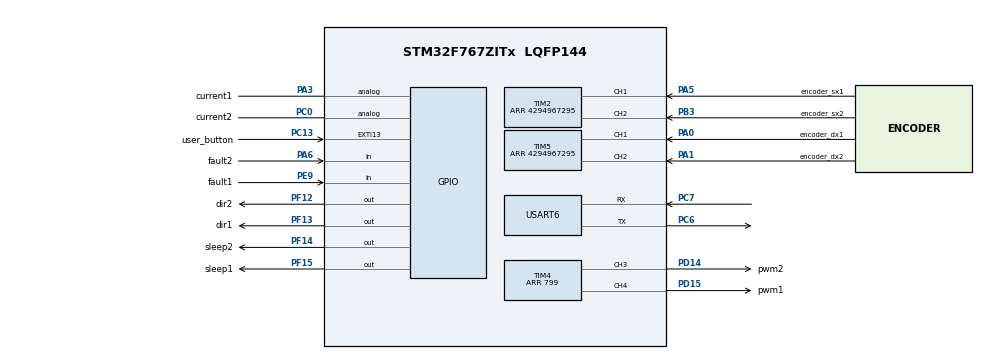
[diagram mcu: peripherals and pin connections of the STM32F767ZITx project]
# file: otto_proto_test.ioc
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Mcu.Family=STM32F7
Mcu.Name=STM32F767ZITx
Mcu.Package=LQFP144
NVIC.EXTI15_10_IRQn=true\:0\:0\:false\:false\:true\:true\:true
NVIC.PriorityGroup=NVIC_PRIORITYGROUP_2
NVIC.TIM3_IRQn=true\:2\:1\:true\:true\:true\:1\:true\:true
NVIC.TIM6_DAC_IRQn=true\:2\:2\:true\:true\:true\:2\:true\:true
NVIC.USART6_IRQn=true\:1\:0\:true\:true\:true\:3\:true\:true
PA0/WKUP.GPIO_Label=encoder_dx1
PA0/WKUP.Signal=S_TIM5_CH1
PA1.GPIO_Label=encoder_dx2
PA1.Signal=S_TIM5_CH2
PA13.Mode=Serial_Wire
PA13.Signal=SYS_JTMS-SWDIO
PA14.Mode=Serial_Wire
PA14.Signal=SYS_JTCK-SWCLK
PA3.GPIO_Label=current1
PA3.Signal=GPIO_Analog
PA5.GPIO_Label=encoder_sx1
PA5.Signal=S_TIM2_CH1_ETR
PA6.GPIO_Label=fault2
PA6.Signal=GPIO_Input
PB3.GPIO_Label=encoder_sx2
PB3.Signal=S_TIM2_CH2
PC0.GPIO_Label=current2
PC0.Signal=GPIO_Analog
PC13.GPIO_Label=user_button
PC13.Signal=GPXTI13
PC6.Mode=Asynchronous
PC6.Signal=USART6_TX
PC7.Mode=Asynchronous
PC7.Signal=USART6_RX
PD14.GPIO_Label=pwm2
PD14.Signal=S_TIM4_CH3
PD15.GPIO_Label=pwm1
PD15.Signal=S_TIM4_CH4
PE9.GPIO_Label=fault1
PE9.Signal=GPIO_Input
PF12.GPIO_Label=dir2
PF12.Signal=GPIO_Output
PF13.GPIO_Label=dir1
PF13.Signal=GPIO_Output
PF14.GPIO_Label=sleep2
PF14.GPIO_ModeDefaultOutputPP=GPIO_MODE_OUTPUT_PP
PF14.GPIO_PuPd=GPIO_PULLUP
PF14.PinState=GPIO_PIN_SET
PF14.Signal=GPIO_Output
PF15.GPIO_Label=sleep1
PF15.GPIO_PuPd=GPIO_PULLUP
PF15.PinState=GPIO_PIN_SET
PF15.Signal=GPIO_Output
ProjectManager.HeapSize=0x200
ProjectManager.StackSize=0x400
ProjectManager.TargetToolchain=STM32CubeIDE
RCC.HSE_VALUE=25000000
RCC.HSI_VALUE=16000000
RCC.LSE_VALUE=32768
RCC.USBFreq_Value=96000000
RCC.VCOOutputFreq_Value=192000000
SH.S_TIM2_CH1_ETR.0=TIM2_CH1,Encoder_Interface
SH.S_TIM2_CH2.0=TIM2_CH2,Encoder_Interface
SH.S_TIM4_CH3.0=TIM4_CH3,PWM Generation3 CH3
SH.S_TIM4_CH4.0=TIM4_CH4,PWM Generation4 CH4
SH.S_TIM5_CH1.0=TIM5_CH1,Encoder_Interface
SH.S_TIM5_CH2.0=TIM5_CH2,Encoder_Interface
TIM2.EncoderMode=TIM_ENCODERMODE_TI12
TIM2.Period=4294967295
TIM3.Period=159
TIM3.Prescaler=999
TIM4.Channel-PWM\ Generation3\ CH3=TIM_CHANNEL_3
TIM4.Channel-PWM\ Generation4\ CH4=TIM_CHANNEL_4
TIM4.Period=799
TIM5.EncoderMode=TIM_ENCODERMODE_TI12
TIM5.Period=4294967295
TIM6.Period=799
TIM6.Prescaler=9999
USART6.Parity=PARITY_NONE
USART6.VirtualMode-Asynchronous=VM_ASYNC
USART6.WordLength=WORDLENGTH_8B
VP_TIM3_VS_ClockSourceINT.Mode=Internal
VP_TIM4_VS_ClockSourceINT.Mode=Internal
VP_TIM6_VS_ClockSourceINT.Mode=Enable_Timer
board=custom

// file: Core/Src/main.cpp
/* USER CODE BEGIN Header */
/**
 ******************************************************************************
 * @file           : main.c
 * @brief          : Main program body
 ******************************************************************************
 * @attention
 *
 * <h2><center>&copy; Copyright (c) 2019 STMicroelectronics.
 * All rights reserved.</center></h2>
 *
 * This software component is licensed by ST under BSD 3-Clause license,
 * the "License"; You may not use this file except in compliance with the
 * License. You may obtain a copy of the License at:
 *                        opensource.org/licenses/BSD-3-Clause
 *
 ******************************************************************************
 */
/* USER CODE END Header */

#include "main.h"

/* USER CODE BEGIN Includes */

#include "encoder.h"
#include "odometry.h"
#include "motor_controller.h"
#include "pid.h"
#include "communication_utils.h"
#include "constants.h"

#include <pb_encode.h>
#include <pb_decode.h>
#include "velocities.pb.h"
/* USER CODE END Includes */

TIM_HandleTypeDef htim2;
TIM_HandleTypeDef htim3;
TIM_HandleTypeDef htim4;
TIM_HandleTypeDef htim5;
TIM_HandleTypeDef htim6;

UART_HandleTypeDef huart6;

/* USER CODE BEGIN PV */

//Odometry
Encoder right_encoder = Encoder(&htim5, RIGHT_TICKS_PER_METER);
Encoder left_encoder = Encoder(&htim2, LEFT_TICKS_PER_METER);
Odometry odom = Odometry();
float left_velocity = 0;
float right_velocity = 0;

//PID
Pid left_pid(0, 0, 0);
Pid right_pid(0, 0, 0);
Pid cross_pid(0, 0, 0);
float left_setpoint;
float right_setpoint;
float cross_setpoint;
int left_dutycycle;
int right_dutycycle;

//MotorController
MotorController right_motor(sleep1_GPIO_Port,
sleep1_Pin,
                            dir1_GPIO_Port,
                            dir1_Pin,
                            &htim4,
                            TIM_CHANNEL_4);
MotorController left_motor(sleep2_GPIO_Port,
sleep2_Pin,
                           dir2_GPIO_Port,
                           dir2_Pin,
                           &htim4,
                           TIM_CHANNEL_3);

//Communication
uint8_t *tx_buffer;
uint8_t *rx_buffer;
velocity_msg input_msg;
ticks_msg output_msg;

//user button variables
int previous_millis = 0;
int current_millis = 0;
bool debounce = true;

//test stuff
float mode = 0;  //0 for setup, 1 go, 2 send data
int left_ticks = 0;
int right_ticks = 0;

//protobuffers
Velocities vel_output;
uint8_t buffer_tx[10];
pb_ostream_t stream_tx;

Velocities vel_input;
uint8_t buffer_rx[10];
pb_istream_t stream_rx;

/* USER CODE END PV */

void SystemClock_Config(void);
static void MX_GPIO_Init(void);
static void MX_TIM2_Init(void);
static void MX_TIM3_Init(void);
static void MX_TIM4_Init(void);
static void MX_TIM5_Init(void);
static void MX_USART6_UART_Init(void);
static void MX_TIM6_Init(void);
static void MX_NVIC_Init(void);

int main(void) {

  /* MCU Configuration--------------------------------------------------------*/

  /* Reset of all peripherals, Initializes the Flash interface and the Systick. */
  HAL_Init();

  /* Configure the system clock */
  SystemClock_Config();

  /* Initialize all configured peripherals */
  MX_GPIO_Init();
  MX_TIM2_Init();
  MX_TIM3_Init();
  MX_TIM4_Init();
  MX_TIM5_Init();
  MX_USART6_UART_Init();
  MX_TIM6_Init();

  /* Initialize interrupts */
  MX_NVIC_Init();
  /* USER CODE BEGIN 2 */

  left_encoder.Setup();
  right_encoder.Setup();

  left_motor.setup();
  right_motor.setup();
  left_motor.coast();
  right_motor.coast();

  left_pid.config(180, 200, 0);
  right_pid.config(185, 195, 0);
  cross_pid.config(50, 20, 0);

  tx_buffer = (uint8_t*) &output_msg;
  rx_buffer = (uint8_t*) &input_msg;

  vel_output.angular_vel = 1;
  vel_output.linear_vel = 2;
  stream_tx = pb_ostream_from_buffer(buffer_tx, sizeof(buffer_tx));

  //Enables UART RX interrupt
  HAL_UART_Receive_IT(&huart6, buffer_rx, 10);
  HAL_TIM_Base_Start_IT(&htim6);
  /* USER CODE END 2 */

  /* Infinite loop */
  while (1) {

  }
}

void SystemClock_Config(void) {
  RCC_OscInitTypeDef RCC_OscInitStruct = { 0 };
  RCC_ClkInitTypeDef RCC_ClkInitStruct = { 0 };
  RCC_PeriphCLKInitTypeDef PeriphClkInitStruct = { 0 };

  /** Configure the main internal regulator output voltage
   */
  __HAL_RCC_PWR_CLK_ENABLE();
  __HAL_PWR_VOLTAGESCALING_CONFIG(PWR_REGULATOR_VOLTAGE_SCALE3);
  /** Initializes the CPU, AHB and APB busses clocks
   */
  RCC_OscInitStruct.OscillatorType = RCC_OSCILLATORTYPE_HSI;
  RCC_OscInitStruct.HSIState = RCC_HSI_ON;
  RCC_OscInitStruct.HSICalibrationValue = RCC_HSICALIBRATION_DEFAULT;
  RCC_OscInitStruct.PLL.PLLState = RCC_PLL_NONE;
  if (HAL_RCC_OscConfig(&RCC_OscInitStruct) != HAL_OK) {
    Error_Handler();
  }
  /** Initializes the CPU, AHB and APB busses clocks
   */
  RCC_ClkInitStruct.ClockType = RCC_CLOCKTYPE_HCLK | RCC_CLOCKTYPE_SYSCLK
      | RCC_CLOCKTYPE_PCLK1 | RCC_CLOCKTYPE_PCLK2;
  RCC_ClkInitStruct.SYSCLKSource = RCC_SYSCLKSOURCE_HSI;
  RCC_ClkInitStruct.AHBCLKDivider = RCC_SYSCLK_DIV1;
  RCC_ClkInitStruct.APB1CLKDivider = RCC_HCLK_DIV1;
  RCC_ClkInitStruct.APB2CLKDivider = RCC_HCLK_DIV1;

  if (HAL_RCC_ClockConfig(&RCC_ClkInitStruct, FLASH_LATENCY_0) != HAL_OK) {
    Error_Handler();
  }
  PeriphClkInitStruct.PeriphClockSelection = RCC_PERIPHCLK_USART6;
  PeriphClkInitStruct.Usart6ClockSelection = RCC_USART6CLKSOURCE_PCLK2;
  if (HAL_RCCEx_PeriphCLKConfig(&PeriphClkInitStruct) != HAL_OK) {
    Error_Handler();
  }
}

/**
 * @brief NVIC Configuration.
 * @retval None
 */
static void MX_NVIC_Init(void) {
  /* TIM3_IRQn interrupt configuration */
  HAL_NVIC_SetPriority(TIM3_IRQn, 2, 1);
  HAL_NVIC_EnableIRQ(TIM3_IRQn);
  /* TIM6_DAC_IRQn interrupt configuration */
  HAL_NVIC_SetPriority(TIM6_DAC_IRQn, 2, 2);
  HAL_NVIC_EnableIRQ(TIM6_DAC_IRQn);
  /* USART6_IRQn interrupt configuration */
  HAL_NVIC_SetPriority(USART6_IRQn, 1, 0);
  HAL_NVIC_EnableIRQ(USART6_IRQn);
}

static void MX_TIM2_Init(void) {

  TIM_Encoder_InitTypeDef sConfig = { 0 };
  TIM_MasterConfigTypeDef sMasterConfig = { 0 };

  htim2.Instance = TIM2;
  htim2.Init.Prescaler = 0;
  htim2.Init.CounterMode = TIM_COUNTERMODE_UP;
  htim2.Init.Period = 4294967295;
  htim2.Init.ClockDivision = TIM_CLOCKDIVISION_DIV1;
  htim2.Init.AutoReloadPreload = TIM_AUTORELOAD_PRELOAD_DISABLE;
  sConfig.EncoderMode = TIM_ENCODERMODE_TI12;
  sConfig.IC1Polarity = TIM_ICPOLARITY_RISING;
  sConfig.IC1Selection = TIM_ICSELECTION_DIRECTTI;
  sConfig.IC1Prescaler = TIM_ICPSC_DIV1;
  sConfig.IC1Filter = 0;
  sConfig.IC2Polarity = TIM_ICPOLARITY_RISING;
  sConfig.IC2Selection = TIM_ICSELECTION_DIRECTTI;
  sConfig.IC2Prescaler = TIM_ICPSC_DIV1;
  sConfig.IC2Filter = 0;
  if (HAL_TIM_Encoder_Init(&htim2, &sConfig) != HAL_OK) {
    Error_Handler();
  }
  sMasterConfig.MasterOutputTrigger = TIM_TRGO_RESET;
  sMasterConfig.MasterSlaveMode = TIM_MASTERSLAVEMODE_DISABLE;
  if (HAL_TIMEx_MasterConfigSynchronization(&htim2, &sMasterConfig) != HAL_OK) {
    Error_Handler();
  }

}

static void MX_TIM3_Init(void) {

  TIM_ClockConfigTypeDef sClockSourceConfig = { 0 };
  TIM_MasterConfigTypeDef sMasterConfig = { 0 };

  htim3.Instance = TIM3;
  htim3.Init.Prescaler = 999;
  htim3.Init.CounterMode = TIM_COUNTERMODE_UP;
  htim3.Init.Period = 159;
  htim3.Init.ClockDivision = TIM_CLOCKDIVISION_DIV1;
  htim3.Init.AutoReloadPreload = TIM_AUTORELOAD_PRELOAD_DISABLE;
  if (HAL_TIM_Base_Init(&htim3) != HAL_OK) {
    Error_Handler();
  }
  sClockSourceConfig.ClockSource = TIM_CLOCKSOURCE_INTERNAL;
  if (HAL_TIM_ConfigClockSource(&htim3, &sClockSourceConfig) != HAL_OK) {
    Error_Handler();
  }
  sMasterConfig.MasterOutputTrigger = TIM_TRGO_RESET;
  sMasterConfig.MasterSlaveMode = TIM_MASTERSLAVEMODE_DISABLE;
  if (HAL_TIMEx_MasterConfigSynchronization(&htim3, &sMasterConfig) != HAL_OK) {
    Error_Handler();
  }

}

static void MX_TIM4_Init(void) {

  TIM_ClockConfigTypeDef sClockSourceConfig = { 0 };
  TIM_MasterConfigTypeDef sMasterConfig = { 0 };
  TIM_OC_InitTypeDef sConfigOC = { 0 };

  htim4.Instance = TIM4;
  htim4.Init.Prescaler = 0;
  htim4.Init.CounterMode = TIM_COUNTERMODE_UP;
  htim4.Init.Period = 799;
  htim4.Init.ClockDivision = TIM_CLOCKDIVISION_DIV1;
  htim4.Init.AutoReloadPreload = TIM_AUTORELOAD_PRELOAD_DISABLE;
  if (HAL_TIM_Base_Init(&htim4) != HAL_OK) {
    Error_Handler();
  }
  sClockSourceConfig.ClockSource = TIM_CLOCKSOURCE_INTERNAL;
  if (HAL_TIM_ConfigClockSource(&htim4, &sClockSourceConfig) != HAL_OK) {
    Error_Handler();
  }
  if (HAL_TIM_PWM_Init(&htim4) != HAL_OK) {
    Error_Handler();
  }
  sMasterConfig.MasterOutputTrigger = TIM_TRGO_RESET;
  sMasterConfig.MasterSlaveMode = TIM_MASTERSLAVEMODE_DISABLE;
  if (HAL_TIMEx_MasterConfigSynchronization(&htim4, &sMasterConfig) != HAL_OK) {
    Error_Handler();
  }
  sConfigOC.OCMode = TIM_OCMODE_PWM1;
  sConfigOC.Pulse = 0;
  sConfigOC.OCPolarity = TIM_OCPOLARITY_HIGH;
  sConfigOC.OCFastMode = TIM_OCFAST_DISABLE;
  if (HAL_TIM_PWM_ConfigChannel(&htim4, &sConfigOC, TIM_CHANNEL_3) != HAL_OK) {
    Error_Handler();
  }
  if (HAL_TIM_PWM_ConfigChannel(&htim4, &sConfigOC, TIM_CHANNEL_4) != HAL_OK) {
    Error_Handler();
  }
  HAL_TIM_MspPostInit(&htim4);

}

static void MX_TIM5_Init(void) {

  TIM_Encoder_InitTypeDef sConfig = { 0 };
  TIM_MasterConfigTypeDef sMasterConfig = { 0 };

  htim5.Instance = TIM5;
  htim5.Init.Prescaler = 0;
  htim5.Init.CounterMode = TIM_COUNTERMODE_UP;
  htim5.Init.Period = 4294967295;
  htim5.Init.ClockDivision = TIM_CLOCKDIVISION_DIV1;
  htim5.Init.AutoReloadPreload = TIM_AUTORELOAD_PRELOAD_DISABLE;
  sConfig.EncoderMode = TIM_ENCODERMODE_TI12;
  sConfig.IC1Polarity = TIM_ICPOLARITY_RISING;
  sConfig.IC1Selection = TIM_ICSELECTION_DIRECTTI;
  sConfig.IC1Prescaler = TIM_ICPSC_DIV1;
  sConfig.IC1Filter = 0;
  sConfig.IC2Polarity = TIM_ICPOLARITY_RISING;
  sConfig.IC2Selection = TIM_ICSELECTION_DIRECTTI;
  sConfig.IC2Prescaler = TIM_ICPSC_DIV1;
  sConfig.IC2Filter = 0;
  if (HAL_TIM_Encoder_Init(&htim5, &sConfig) != HAL_OK) {
    Error_Handler();
  }
  sMasterConfig.MasterOutputTrigger = TIM_TRGO_RESET;
  sMasterConfig.MasterSlaveMode = TIM_MASTERSLAVEMODE_DISABLE;
  if (HAL_TIMEx_MasterConfigSynchronization(&htim5, &sMasterConfig) != HAL_OK) {
    Error_Handler();
  }

}

static void MX_TIM6_Init(void) {

  TIM_MasterConfigTypeDef sMasterConfig = { 0 };

  htim6.Instance = TIM6;
  htim6.Init.Prescaler = 9999;
  htim6.Init.CounterMode = TIM_COUNTERMODE_UP;
  htim6.Init.Period = 799;
  htim6.Init.AutoReloadPreload = TIM_AUTORELOAD_PRELOAD_DISABLE;
  if (HAL_TIM_Base_Init(&htim6) != HAL_OK) {
    Error_Handler();
  }
  sMasterConfig.MasterOutputTrigger = TIM_TRGO_RESET;
  sMasterConfig.MasterSlaveMode = TIM_MASTERSLAVEMODE_DISABLE;
  if (HAL_TIMEx_MasterConfigSynchronization(&htim6, &sMasterConfig) != HAL_OK) {
    Error_Handler();
  }

}

static void MX_USART6_UART_Init(void) {

  huart6.Instance = USART6;
  huart6.Init.BaudRate = 115200;
  huart6.Init.WordLength = UART_WORDLENGTH_8B;
  huart6.Init.StopBits = UART_STOPBITS_1;
  huart6.Init.Parity = UART_PARITY_NONE;
  huart6.Init.Mode = UART_MODE_TX_RX;
  huart6.Init.HwFlowCtl = UART_HWCONTROL_NONE;
  huart6.Init.OverSampling = UART_OVERSAMPLING_16;
  huart6.Init.OneBitSampling = UART_ONE_BIT_SAMPLE_DISABLE;
  huart6.AdvancedInit.AdvFeatureInit = UART_ADVFEATURE_NO_INIT;
  if (HAL_UART_Init(&huart6) != HAL_OK) {
    Error_Handler();
  }

}

static void MX_GPIO_Init(void) {
  GPIO_InitTypeDef GPIO_InitStruct = { 0 };

  /* GPIO Ports Clock Enable */
  __HAL_RCC_GPIOC_CLK_ENABLE();
  __HAL_RCC_GPIOA_CLK_ENABLE();
  __HAL_RCC_GPIOF_CLK_ENABLE();
  __HAL_RCC_GPIOE_CLK_ENABLE();
  __HAL_RCC_GPIOD_CLK_ENABLE();
  __HAL_RCC_GPIOB_CLK_ENABLE();

  /*Configure GPIO pin Output Level */
  HAL_GPIO_WritePin(GPIOF, dir2_Pin | dir1_Pin, GPIO_PIN_RESET);

  /*Configure GPIO pin Output Level */
  HAL_GPIO_WritePin(GPIOF, sleep2_Pin | sleep1_Pin, GPIO_PIN_SET);

  /*Configure GPIO pin : user_button_Pin */
  GPIO_InitStruct.Pin = user_button_Pin;
  GPIO_InitStruct.Mode = GPIO_MODE_IT_RISING;
  GPIO_InitStruct.Pull = GPIO_NOPULL;
  HAL_GPIO_Init(user_button_GPIO_Port, &GPIO_InitStruct);

  /*Configure GPIO pin : current2_Pin */
  GPIO_InitStruct.Pin = current2_Pin;
  GPIO_InitStruct.Mode = GPIO_MODE_ANALOG;
  GPIO_InitStruct.Pull = GPIO_NOPULL;
  HAL_GPIO_Init(current2_GPIO_Port, &GPIO_InitStruct);

  /*Configure GPIO pin : current1_Pin */
  GPIO_InitStruct.Pin = current1_Pin;
  GPIO_InitStruct.Mode = GPIO_MODE_ANALOG;
  GPIO_InitStruct.Pull = GPIO_NOPULL;
  HAL_GPIO_Init(current1_GPIO_Port, &GPIO_InitStruct);

  /*Configure GPIO pin : fault2_Pin */
  GPIO_InitStruct.Pin = fault2_Pin;
  GPIO_InitStruct.Mode = GPIO_MODE_INPUT;
  GPIO_InitStruct.Pull = GPIO_NOPULL;
  HAL_GPIO_Init(fault2_GPIO_Port, &GPIO_InitStruct);

  /*Configure GPIO pins : dir2_Pin dir1_Pin */
  GPIO_InitStruct.Pin = dir2_Pin | dir1_Pin;
  GPIO_InitStruct.Mode = GPIO_MODE_OUTPUT_PP;
  GPIO_InitStruct.Pull = GPIO_NOPULL;
  GPIO_InitStruct.Speed = GPIO_SPEED_FREQ_LOW;
  HAL_GPIO_Init(GPIOF, &GPIO_InitStruct);

  /*Configure GPIO pins : sleep2_Pin sleep1_Pin */
  GPIO_InitStruct.Pin = sleep2_Pin | sleep1_Pin;
  GPIO_InitStruct.Mode = GPIO_MODE_OUTPUT_PP;
  GPIO_InitStruct.Pull = GPIO_PULLUP;
  GPIO_InitStruct.Speed = GPIO_SPEED_FREQ_LOW;
  HAL_GPIO_Init(GPIOF, &GPIO_InitStruct);

  /*Configure GPIO pin : fault1_Pin */
  GPIO_InitStruct.Pin = fault1_Pin;
  GPIO_InitStruct.Mode = GPIO_MODE_INPUT;
  GPIO_InitStruct.Pull = GPIO_NOPULL;
  HAL_GPIO_Init(fault1_GPIO_Port, &GPIO_InitStruct);

  /* EXTI interrupt init*/
  HAL_NVIC_SetPriority(EXTI15_10_IRQn, 0, 0);
  HAL_NVIC_EnableIRQ(EXTI15_10_IRQn);

}

/* USER CODE BEGIN 4 */
void HAL_TIM_PeriodElapsedCallback(TIM_HandleTypeDef *htim) {

  //TIMER 100Hz PID control
  if (htim->Instance == TIM3) {

    left_velocity = left_encoder.GetLinearVelocity();
    left_dutycycle = left_pid.update(left_velocity);
    left_motor.set_speed(left_dutycycle);

    right_velocity = right_encoder.GetLinearVelocity();
    right_dutycycle = right_pid.update(right_velocity);
    right_motor.set_speed(right_dutycycle);

    float difference = left_velocity - right_velocity;

    int cross_dutycycle = cross_pid.update(difference);

    left_dutycycle += cross_dutycycle;
    right_dutycycle -= cross_dutycycle;

  }

  //TIMER 2Hz Transmit
  if (htim->Instance == TIM6) {

    odom.UpdateValuesFromWheels(left_encoder.GetLinearVelocity(),
                                right_encoder.GetLinearVelocity());

    vel_output.linear_vel = odom.GetLinearVelocity();
    vel_output.angular_vel = odom.GetAngularVelocity();

    stream_tx = pb_ostream_from_buffer(buffer_tx, sizeof(buffer_tx));

    pb_encode(&stream_tx, Velocities_fields, &vel_output);

    HAL_UART_Transmit(&huart6, buffer_tx, 10, 100);
  }
}

void HAL_UART_RxCpltCallback(UART_HandleTypeDef *UartHandle) {

  pb_istream_t stream = pb_istream_from_buffer(buffer_rx, 10);

  bool status = pb_decode(&stream, Velocities_fields, &vel_input);

  // if decoding went ok
  if (status) {

    odom.UpdateValuesFromVel(vel_input.linear_vel, vel_input.angular_vel);

    left_setpoint = odom.GetLeftVelocity();
    right_setpoint = odom.GetRightVelocity();

    left_pid.set(left_setpoint);
    right_pid.set(right_setpoint);

    cross_setpoint = left_setpoint - right_setpoint;
    cross_pid.set(cross_setpoint);
  }

  HAL_UART_Receive_IT(&huart6, buffer_rx, 10);

}

void HAL_GPIO_EXTI_Callback(uint16_t GPIO_Pin) {
  //Blue user button
  if (GPIO_Pin == GPIO_PIN_13) {
    previous_millis = current_millis;
    current_millis = HAL_GetTick();
    if (current_millis - previous_millis < 500)
      debounce = false;
    else
      debounce = true;
    if (mode == 0 && debounce) {
      mode = 1;
      //Enables TIM3 interrupt (used for PID control)
      HAL_TIM_Base_Start_IT(&htim3);
    }
  }
}

/* USER CODE END 4 */

void Error_Handler(void) {
}

/************************ (C) COPYRIGHT STMicroelectronics *****END OF FILE****/
